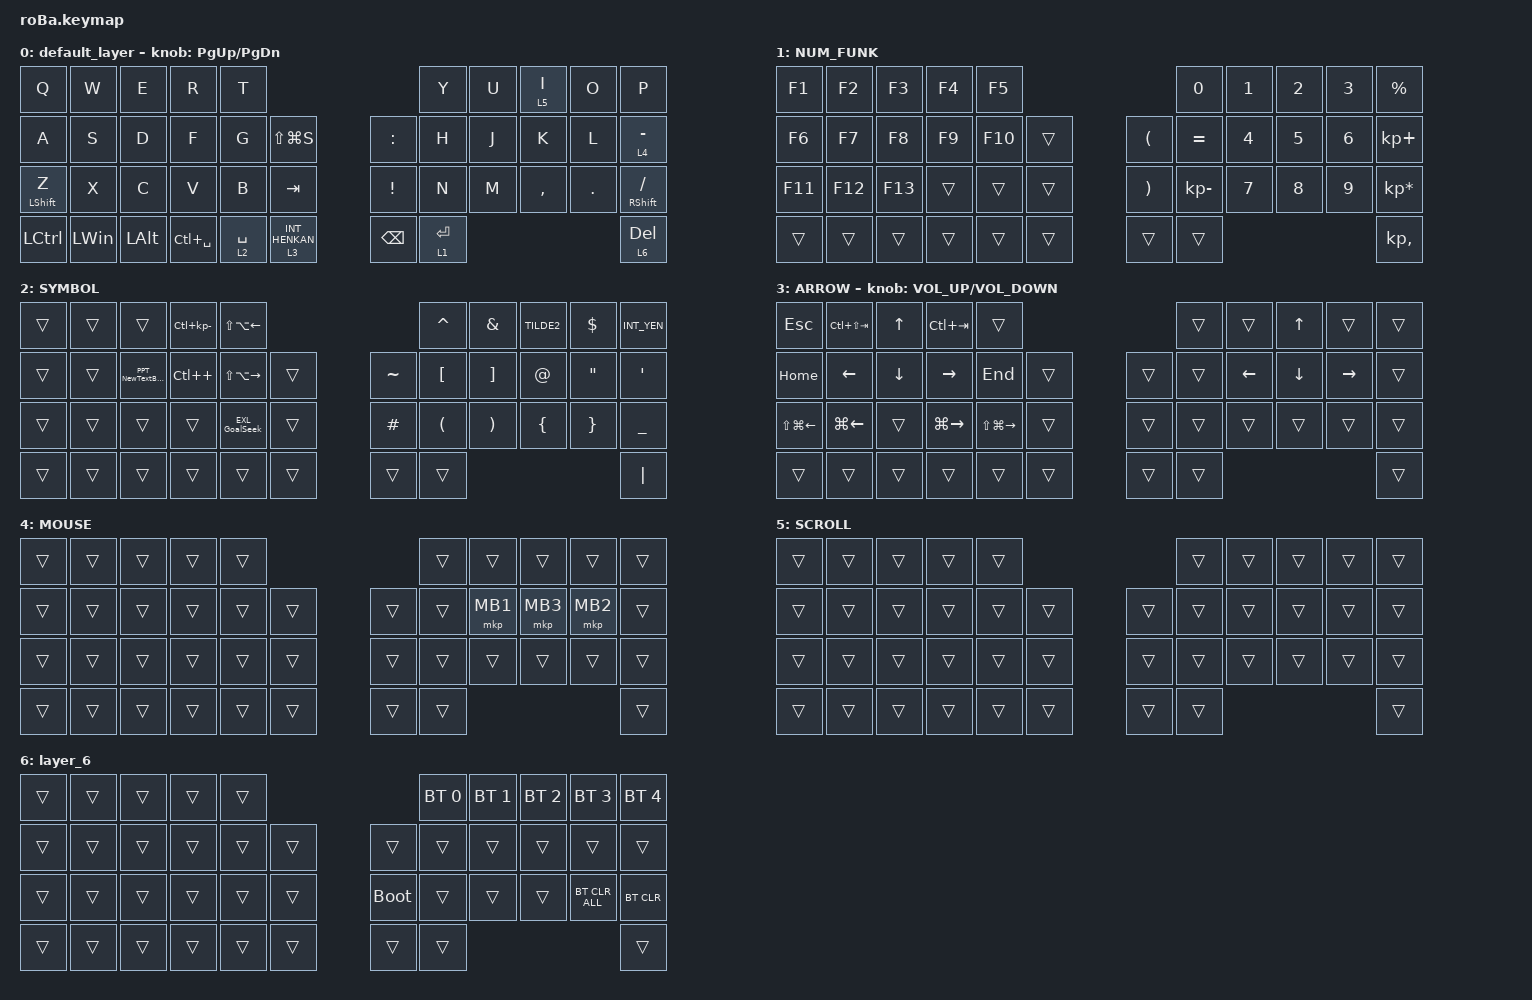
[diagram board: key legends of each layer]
#include <behaviors.dtsi>
#include <dt-bindings/zmk/bt.h>
#include <dt-bindings/zmk/keys.h>
#include <dt-bindings/zmk/pointing.h>

// OS設定を日本語キーボードのまま使用するための変換定義

#define JP_DQUOTE       AT                // "
#define JP_AMPERSAND    CARET             // &
#define JP_QUOTE        AMPERSAND         // '
#define JP_EQUAL        UNDER             // =
#define JP_CARET        EQUAL             // ^
#define JP_YEN          0x89              // ¥
#define JP_PLUS         COLON             // +
#define JP_TILDE        PLUS              // ~
#define JP_PIPE         LS(0x89)          // |
#define JP_AT           LEFT_BRACKET      // @
#define JP_COLON        SINGLE_QUOTE      // :
#define JP_ASTERISK     DOUBLE_QUOTES     // *
#define JP_BACKQUOTE    LEFT_BRACE        // `
#define JP_UNDERSCORE   LS(0x87)          // _
#define JP_LBRACKET     RIGHT_BRACKET     // [
#define JP_RBRACKET     BACKSLASH         // ]
#define JP_LPAREN       ASTERISK          // (
#define JP_RPAREN       LEFT_PARENTHESIS  // )
#define JP_LBRACE       RIGHT_BRACE       // {
#define JP_RBRACE       PIPE              // }
#define JP_KANA         LANGUAGE_1        // かな
#define JP_EISU         LANGUAGE_2        // 英数
#define JP_HANZEN       GRAVE             // 半角/全角

&mt {
    flavor = "balanced";
    quick-tap-ms = <0>;
};

&trackball {
    // automouse-layer = <4>;

    scroll-layers = <5>;

    // arrows {
    //     layers = <3>;
    //     bindings =
    //         <&kp RIGHT_ARROW>,
    //         <&kp LEFT_ARROW>,
    //         <&kp UP_ARROW>,
    //         <&kp DOWN_ARROW>;
    //     tick = <10>;
    //     wait-ms = <5>;
    //     tap-ms = <5>;
    // };
};

/ {
    combos {
        compatible = "zmk,combos";

        tab {
            bindings = <&kp TAB>;
            key-positions = <11 12>;
        };

        shift_tab {
            bindings = <&kp LS(TAB)>;
            key-positions = <12 13>;
        };

        double_quotation {
            bindings = <&kp DOUBLE_QUOTES>;
            key-positions = <20 21>;
        };

        eq {
            bindings = <&kp EQUAL>;
            key-positions = <24 25>;
        };
    };

    macros {
        to_layer_0: to_layer_0 {
            compatible = "zmk,behavior-macro-one-param";
            #binding-cells = <1>;
            bindings = <&to 0 &macro_param_1to1 &kp MACRO_PLACEHOLDER>;
            label = "TO_LAYER_0";
        };

        PPT_NewTextBox: PPT_NewTextBox {
            compatible = "zmk,behavior-macro";
            #binding-cells = <0>;
            bindings =
                <&kp LEFT_ALT>,
                <&macro_wait_time 40>,
                <&kp N>,
                <&macro_wait_time 20>,
                <&kp X>,
                <&macro_wait_time 20>,
                <&kp H>;

            label = "PPT_NEWTEXTBOX";
        };

        EXL_GoalSeek: EXL_GoalSeek {
            compatible = "zmk,behavior-macro";
            #binding-cells = <0>;
            bindings =
                <&kp LEFT_ALT>,
                <&macro_wait_time 40>,
                <&kp A>,
                <&macro_wait_time 20>,
                <&kp W>,
                <&macro_wait_time 20>,
                <&kp G>;

            label = "EXL_GOALSEEK";
        };
    };

    behaviors {
        lt_to_layer_0: lt_to_layer_0 {
            compatible = "zmk,behavior-hold-tap";
            label = "LAYER_TAP_TO_0";
            bindings = <&mo>, <&to_layer_0>;

            #binding-cells = <2>;
            tapping-term-ms = <100>;
        };
    };

    keymap {
        compatible = "zmk,keymap";

        default_layer {
            bindings = <
&kp Q             &kp W         &kp E         &kp R          &kp T                                                          &kp Y        &kp U  &lt 5 I    &kp O    &kp P
&kp A             &kp S         &kp D         &kp F          &kp G        &kp LS(LG(S))                    &kp COLON        &kp H        &kp J  &kp K      &kp L    &lt 4 MINUS
&mt LEFT_SHIFT Z  &kp X         &kp C         &kp V          &kp B        &kp TAB                          &kp EXCLAMATION  &kp N        &kp M  &kp COMMA  &kp DOT  &mt RSHFT SLASH
&kp LCTRL         &kp LEFT_WIN  &kp LEFT_ALT  &kp LC(SPACE)  &lt 2 SPACE  &lt_to_layer_0 3 INT_HENKAN      &kp BACKSPACE    &lt 1 ENTER                             &lt_to_layer_0 6 DELETE
            >;

            sensor-bindings = <&inc_dec_kp PAGE_UP PAGE_DOWN>;
        };

        NUM_FUNK {
            bindings = <
&kp F1   &kp F2   &kp F3   &kp F4  &kp F5                                      &kp N0        &kp NUMBER_1  &kp NUMBER_2  &kp NUMBER_3  &kp PERCENT
&kp F6   &kp F7   &kp F8   &kp F9  &kp F10  &trans      &kp LEFT_PARENTHESIS   &kp EQUAL     &kp NUMBER_4  &kp N5        &kp NUMBER_6  &kp KP_PLUS
&kp F11  &kp F12  &kp F13  &trans  &trans   &trans      &kp RIGHT_PARENTHESIS  &kp KP_MINUS  &kp NUMBER_7  &kp NUMBER_8  &kp NUMBER_9  &kp KP_MULTIPLY
&trans   &trans   &trans   &trans  &trans   &trans      &trans                 &trans                                                  &kp KP_COMMA
            >;
        };

        SYMBOL {
            bindings = <
&trans  &trans  &trans           &kp LC(KP_MINUS)  &kp LS(LA(LEFT_ARROW))                          &kp CARET             &kp AMPERSAND          &kp TILDE2      &kp DOLLAR         &kp INT_YEN
&trans  &trans  &PPT_NewTextBox  &kp LC(PLUS)      &kp LS(LA(RIGHT_ARROW))  &trans      &kp TILDE  &kp LEFT_BRACKET      &kp RBKT               &kp AT_SIGN     &kp DOUBLE_QUOTES  &kp SINGLE_QUOTE
&trans  &trans  &trans           &trans            &EXL_GoalSeek            &trans      &kp HASH   &kp LEFT_PARENTHESIS  &kp RIGHT_PARENTHESIS  &kp LEFT_BRACE  &kp RIGHT_BRACE    &kp UNDERSCORE
&trans  &trans  &trans           &trans            &trans                   &trans      &trans     &trans                                                                          &kp PIPE
            >;
        };

        ARROW {
            bindings = <
&kp ESCAPE              &kp LC(LS(TAB))     &kp UP_ARROW    &kp LC(TAB)          &trans                                       &trans  &trans          &kp UP_ARROW    &trans           &trans
&kp HOME                &kp LEFT_ARROW      &kp DOWN_ARROW  &kp RIGHT_ARROW      &kp END                  &trans      &trans  &trans  &kp LEFT_ARROW  &kp DOWN_ARROW  &kp RIGHT_ARROW  &trans
&kp LS(LG(LEFT_ARROW))  &kp LG(LEFT_ARROW)  &trans          &kp LG(RIGHT_ARROW)  &kp LS(LG(RIGHT_ARROW))  &trans      &trans  &trans  &trans          &trans          &trans           &trans
&trans                  &trans              &trans          &trans               &trans                   &trans      &trans  &trans                                                   &trans
            >;

            sensor-bindings = <&inc_dec_kp C_VOLUME_UP C_VOLUME_DOWN>;
        };

        MOUSE {
            bindings = <
&trans  &trans  &trans  &trans  &trans                      &trans  &trans    &trans    &trans    &trans
&trans  &trans  &trans  &trans  &trans  &trans      &trans  &trans  &mkp MB1  &mkp MB3  &mkp MB2  &trans
&trans  &trans  &trans  &trans  &trans  &trans      &trans  &trans  &trans    &trans    &trans    &trans
&trans  &trans  &trans  &trans  &trans  &trans      &trans  &trans                                &trans
            >;
        };

        SCROLL {
            bindings = <
&trans  &trans  &trans  &trans  &trans                      &trans  &trans  &trans  &trans  &trans
&trans  &trans  &trans  &trans  &trans  &trans      &trans  &trans  &trans  &trans  &trans  &trans
&trans  &trans  &trans  &trans  &trans  &trans      &trans  &trans  &trans  &trans  &trans  &trans
&trans  &trans  &trans  &trans  &trans  &trans      &trans  &trans                          &trans
            >;
        };

        layer_6 {
            bindings = <
&trans  &trans  &trans  &trans  &trans                           &bt BT_SEL 0  &bt BT_SEL 1  &bt BT_SEL 2  &bt BT_SEL 3    &bt BT_SEL 4
&trans  &trans  &trans  &trans  &trans  &trans      &trans       &trans        &trans        &trans        &trans          &trans
&trans  &trans  &trans  &trans  &trans  &trans      &bootloader  &trans        &trans        &trans        &bt BT_CLR_ALL  &bt BT_CLR
&trans  &trans  &trans  &trans  &trans  &trans      &trans       &trans                                                    &trans
            >;
        };
    };
};
